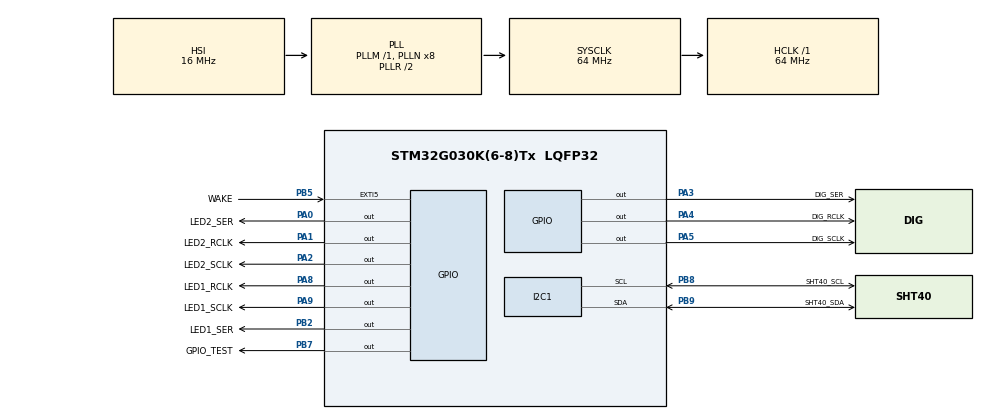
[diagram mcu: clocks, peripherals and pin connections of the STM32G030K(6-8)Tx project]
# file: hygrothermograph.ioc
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I2C1.Timing=0x10B17DB5
Mcu.Family=STM32G0
Mcu.Name=STM32G030K(6-8)Tx
Mcu.Package=LQFP32
NVIC.EXTI4_15_IRQn=true\:1\:0\:true\:false\:true\:true\:true\:true
NVIC.TIM14_IRQn=true\:1\:0\:true\:false\:true\:true\:true\:true
PA0.GPIO_Label=LED2_SER
PA0.GPIO_Speed=GPIO_SPEED_FREQ_HIGH
PA0.Signal=GPIO_Output
PA1.GPIO_Label=LED2_RCLK
PA1.GPIO_Speed=GPIO_SPEED_FREQ_HIGH
PA1.Signal=GPIO_Output
PA13.Mode=Serial_Wire
PA13.Signal=SYS_SWDIO
PA14-BOOT0.Mode=Serial_Wire
PA14-BOOT0.Signal=SYS_SWCLK
PA2.GPIO_Label=LED2_SCLK
PA2.GPIO_Speed=GPIO_SPEED_FREQ_HIGH
PA2.Signal=GPIO_Output
PA3.GPIO_Label=DIG_SER
PA3.GPIO_Speed=GPIO_SPEED_FREQ_HIGH
PA3.Signal=GPIO_Output
PA4.GPIO_Label=DIG_RCLK
PA4.GPIO_Speed=GPIO_SPEED_FREQ_HIGH
PA4.Signal=GPIO_Output
PA5.GPIO_Label=DIG_SCLK
PA5.GPIO_Speed=GPIO_SPEED_FREQ_HIGH
PA5.Signal=GPIO_Output
PA8.GPIO_Label=LED1_RCLK
PA8.GPIO_Speed=GPIO_SPEED_FREQ_HIGH
PA8.Signal=GPIO_Output
PA9.GPIO_Label=LED1_SCLK
PA9.GPIO_Speed=GPIO_SPEED_FREQ_HIGH
PA9.Signal=GPIO_Output
PB2.GPIO_Label=LED1_SER
PB2.GPIO_Speed=GPIO_SPEED_FREQ_HIGH
PB2.Signal=GPIO_Output
PB5.GPIO_Label=WAKE
PB5.GPIO_ModeDefaultEXTI=GPIO_MODE_IT_FALLING
PB5.GPIO_PuPd=GPIO_PULLUP
PB5.Signal=GPXTI5
PB7.GPIO_Label=GPIO_TEST
PB7.GPIO_Speed=GPIO_SPEED_FREQ_LOW
PB7.PinState=GPIO_PIN_SET
PB7.Signal=GPIO_Output
PB8.GPIO_Label=SHT40_SCL
PB8.Mode=I2C
PB8.Signal=I2C1_SCL
PB9.GPIO_Label=SHT40_SDA
PB9.Mode=I2C
PB9.Signal=I2C1_SDA
PC14-OSC32_IN\ (PC14).Mode=LSE-External-Oscillator
PC14-OSC32_IN\ (PC14).Signal=RCC_OSC32_IN
PC15-OSC32_OUT\ (PC15).Mode=LSE-External-Oscillator
PC15-OSC32_OUT\ (PC15).Signal=RCC_OSC32_OUT
ProjectManager.HeapSize=0x200
ProjectManager.StackSize=0x400
ProjectManager.TargetToolchain=MDK-ARM V5.32
RCC.ADCFreq_Value=64000000
RCC.AHBFreq_Value=64000000
RCC.CortexFreq_Value=64000000
RCC.EXTERNAL_CLOCK_VALUE=12288000
RCC.HCLKFreq_Value=64000000
RCC.HSE_VALUE=8000000
RCC.HSI_VALUE=16000000
RCC.SYSCLKFreq_VALUE=64000000
RCC.SYSCLKSource=RCC_SYSCLKSOURCE_PLLCLK
RCC.VCOOutputFreq_Value=128000000
TIM14.Period=1000-1
TIM14.Prescaler=64-1
VP_TIM14_VS_ClockSourceINT.Mode=Enable_Timer
board=custom

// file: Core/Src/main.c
/* USER CODE BEGIN Header */
/**
  ******************************************************************************
  * @file           : main.c
  * @brief          : Main program body
  ******************************************************************************
  * @attention
  *
  * Copyright (c) 2024 STMicroelectronics.
  * All rights reserved.
  *
  * This software is licensed under terms that can be found in the LICENSE file
  * in the root directory of this software component.
  * If no LICENSE file comes with this software, it is provided AS-IS.
  *
  ******************************************************************************
  */
/* USER CODE END Header */
#include "main.h"
#include "i2c.h"
#include "tim.h"
#include "gpio.h"

/* USER CODE BEGIN Includes */
#include "LED.h"
#include "KeyInterrupt.h"
#include "74HC595.h"
#include "SHT40.h"
/* USER CODE END Includes */

/* USER CODE BEGIN PTD */

/* state:系统工作状态（0表示睡眠，1表示工作） */
uint8_t systemState = 0;
float temp = 0;
float humi = 0;

/* USER CODE END PTD */

void SystemClock_Config(void);

int main(void)
{

  /* MCU Configuration--------------------------------------------------------*/

  /* Reset of all peripherals, Initializes the Flash interface and the Systick. */
  HAL_Init();

  /* Configure the system clock */
  SystemClock_Config();

  /* USER CODE BEGIN SysInit */
//	LED_Init();
//	KEY_Inter_Init();
//	Nixie_Init();
  /* USER CODE END SysInit */

  /* Initialize all configured peripherals */
  MX_GPIO_Init();
  MX_I2C1_Init();
  MX_TIM14_Init();
  /* USER CODE BEGIN 2 */
	/* 开机直接进入低功耗模式 */
	HAL_Delay(10);
	Nixie_Close();
	HAL_SuspendTick();	// 关闭滴答定时器
	HAL_PWR_EnterSTOPMode(PWR_MAINREGULATOR_ON, PWR_SLEEPENTRY_WFI);
  /* USER CODE END 2 */

  /* Infinite loop */
  while (1)
  {

    /* USER CODE BEGIN 3 */
		if (systemState == 1) {
			HAL_ResumeTick();				// 恢复滴答定时器
			HAL_TIM_Base_Start_IT(&htim14);		// 开启定时器

			/* 获取温度并设置到数码管中 */
			SHT40_GetTempHumi(&temp, &humi);
			Nixie_SetData(temp * 10, humi * 10, 1, 4);
		} else {
			/* 进入低功耗模式 */
			Nixie_Close();
			HAL_TIM_Base_Stop_IT(&htim14);
			HAL_SuspendTick();
			HAL_PWR_EnterSTOPMode(PWR_MAINREGULATOR_ON, PWR_SLEEPENTRY_WFI);
		}
  }
  /* USER CODE END 3 */
}

void SystemClock_Config(void)
{
  RCC_OscInitTypeDef RCC_OscInitStruct = {0};
  RCC_ClkInitTypeDef RCC_ClkInitStruct = {0};

  /** Configure the main internal regulator output voltage
  */
  HAL_PWREx_ControlVoltageScaling(PWR_REGULATOR_VOLTAGE_SCALE1);

  /** Initializes the RCC Oscillators according to the specified parameters
  * in the RCC_OscInitTypeDef structure.
  */
  RCC_OscInitStruct.OscillatorType = RCC_OSCILLATORTYPE_HSI;
  RCC_OscInitStruct.HSIState = RCC_HSI_ON;
  RCC_OscInitStruct.HSIDiv = RCC_HSI_DIV1;
  RCC_OscInitStruct.HSICalibrationValue = RCC_HSICALIBRATION_DEFAULT;
  RCC_OscInitStruct.PLL.PLLState = RCC_PLL_ON;
  RCC_OscInitStruct.PLL.PLLSource = RCC_PLLSOURCE_HSI;
  RCC_OscInitStruct.PLL.PLLM = RCC_PLLM_DIV1;
  RCC_OscInitStruct.PLL.PLLN = 8;
  RCC_OscInitStruct.PLL.PLLP = RCC_PLLP_DIV2;
  RCC_OscInitStruct.PLL.PLLR = RCC_PLLR_DIV2;
  if (HAL_RCC_OscConfig(&RCC_OscInitStruct) != HAL_OK)
  {
    Error_Handler();
  }

  /** Initializes the CPU, AHB and APB buses clocks
  */
  RCC_ClkInitStruct.ClockType = RCC_CLOCKTYPE_HCLK|RCC_CLOCKTYPE_SYSCLK
                              |RCC_CLOCKTYPE_PCLK1;
  RCC_ClkInitStruct.SYSCLKSource = RCC_SYSCLKSOURCE_PLLCLK;
  RCC_ClkInitStruct.AHBCLKDivider = RCC_SYSCLK_DIV1;
  RCC_ClkInitStruct.APB1CLKDivider = RCC_HCLK_DIV1;

  if (HAL_RCC_ClockConfig(&RCC_ClkInitStruct, FLASH_LATENCY_2) != HAL_OK)
  {
    Error_Handler();
  }
}

/* USER CODE BEGIN 4 */

/* 按键中断处理函数   */
void HAL_GPIO_EXTI_Falling_Callback(uint16_t GPIO_Pin) {
  if (GPIO_Pin == WAKE_Pin) {
		systemState = 1;
	}
}

/* 定时器中断处理函数   */
void HAL_TIM_PeriodElapsedCallback(TIM_HandleTypeDef *htim) {
	if(htim->Instance == TIM14) {
		static uint16_t cnt = 0;

		Nixie_ShowData_TIM();	// 数码管显示

		/* 显示500ms后进入低功耗模式 */
		if (cnt++ == 500) {
			cnt = 0;
			systemState = 0;
		}
	}
}

/* USER CODE END 4 */

void Error_Handler(void)
{
  __disable_irq();
  while (1)
  {
  }
}
